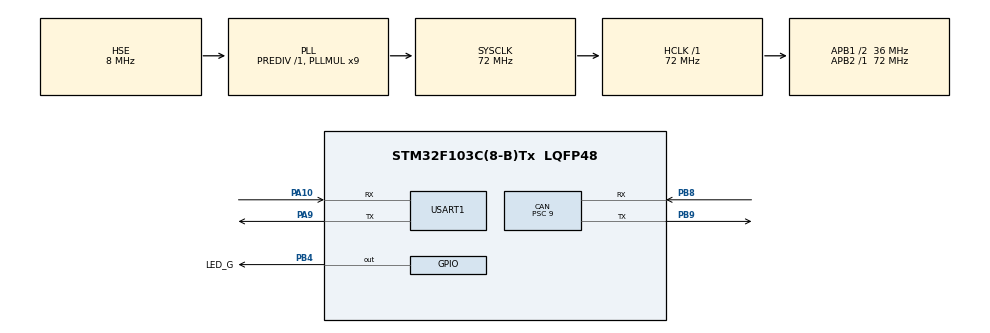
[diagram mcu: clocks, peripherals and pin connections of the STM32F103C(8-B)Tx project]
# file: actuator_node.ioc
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CAN.BS2=CAN_BS2_6TQ
CAN.CalculateBaudRate=500000
CAN.CalculateTimeBit=2000
CAN.CalculateTimeQuantum=250.0
CAN.Prescaler=9
Mcu.Family=STM32F1
Mcu.Name=STM32F103C(8-B)Tx
Mcu.Package=LQFP48
NVIC.CAN1_RX1_IRQn=true\:0\:0\:false\:false\:true\:true\:true\:true
NVIC.PriorityGroup=NVIC_PRIORITYGROUP_4
NVIC.TIM2_IRQn=true\:0\:0\:false\:false\:true\:true\:true\:true
PA10.Mode=Asynchronous
PA10.Signal=USART1_RX
PA9.Mode=Asynchronous
PA9.Signal=USART1_TX
PB4.GPIO_Label=LED_G
PB4.Signal=GPIO_Output
PB8.Mode=CAN_Activate
PB8.Signal=CAN_RX
PB9.Mode=CAN_Activate
PB9.Signal=CAN_TX
PD0-OSC_IN.Mode=HSE-External-Oscillator
PD0-OSC_IN.Signal=RCC_OSC_IN
PD1-OSC_OUT.Mode=HSE-External-Oscillator
PD1-OSC_OUT.Signal=RCC_OSC_OUT
ProjectManager.HeapSize=0x200
ProjectManager.StackSize=0x400
ProjectManager.TargetToolchain=STM32CubeIDE
RCC.AHBFreq_Value=72000000
RCC.APB1CLKDivider=RCC_HCLK_DIV2
RCC.APB1Freq_Value=36000000
RCC.APB1TimFreq_Value=72000000
RCC.APB2Freq_Value=72000000
RCC.APB2TimFreq_Value=72000000
RCC.HCLKFreq_Value=72000000
RCC.PLLMUL=RCC_PLL_MUL9
RCC.PLLSourceVirtual=RCC_PLLSOURCE_HSE
RCC.SYSCLKFreq_VALUE=72000000
RCC.SYSCLKSource=RCC_SYSCLKSOURCE_PLLCLK
RCC.USBFreq_Value=72000000
TIM2.Period=49999
TIM2.Prescaler=7199
USART1.VirtualMode=VM_ASYNC
VP_SYS_VS_ND.Mode=No_Debug
VP_TIM2_VS_ClockSourceINT.Mode=Internal
board=custom

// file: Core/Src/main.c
/* USER CODE BEGIN Header */
/**
  ******************************************************************************
  * @file           : main.c
  * @brief          : Main program body
  ******************************************************************************
  * @attention
  *
  * Copyright (c) 2024 STMicroelectronics.
  * All rights reserved.
  *
  * This software is licensed under terms that can be found in the LICENSE file
  * in the root directory of this software component.
  * If no LICENSE file comes with this software, it is provided AS-IS.
  *
  ******************************************************************************
  */
/* USER CODE END Header */
#include "main.h"

/* USER CODE BEGIN Includes */
#include <stdio.h>
#include <stdlib.h>
#include <time.h>
/* USER CODE END Includes */

/* USER CODE BEGIN PD */
#define CAN_Request_ID 0x712
#define CAN_Response_ID 0x7A2

#define ReadDataByLocalIdentifier_Request_SID 0x22
#define ReadDataByLocalIdentifier_Response_SID 0x62

#define WriteDataByLocalIdentifier_Request_SID 0x2E
#define WriteDataByLocalIdentifier_Response_SID 0x6E

#define SecurityAccess_Request_SID 0x27
#define SecurityAccess_Response_SID 0x67
#define Security_SEED_level 0x01
#define Security_KEY_level 0x02

#define RecordDataIdentifier_High_Byte 0x01
#define RecordDataIdentifier_Low_Byte 0x23

#define Identifier_Negative_Response 0x7F
#define Invalid_length_or_response_format 0x13
#define Invalid_minimum_request_length 0x13
#define DID_not_support 0x31
#define Invalid_Keys 0x35

#define Countinue_State 0x00
#define Wait_State 0x01

#define Block_Size 8
#define Separation_time 250

#define SF 0b0000
#define FF 0b0001
#define CF 0b0010
#define FC 0b0011
/* USER CODE END PD */

CAN_HandleTypeDef hcan;

TIM_HandleTypeDef htim2;

UART_HandleTypeDef huart1;

/* USER CODE BEGIN PV */
CAN_RxHeaderTypeDef RxHeader;
uint8_t RxData[8];
CAN_TxHeaderTypeDef TxHeader = {
		  .StdId = CAN_Response_ID,
		  .IDE = CAN_ID_STD,
		  .RTR = CAN_RTR_DATA,
		  .DLC = 8
  };
uint8_t TxData[8];
uint32_t TxMailbox;
CAN_FilterTypeDef Filter = {
		.FilterIdHigh = 0x0000,
		.FilterIdLow = 0x0000,
		.FilterMaskIdHigh = 0x0000,
		.FilterMaskIdLow = 0x0000,
		.FilterBank = 0,
		.FilterMode = CAN_FILTERMODE_IDMASK,
		.FilterScale = CAN_FILTERSCALE_32BIT,
		.FilterFIFOAssignment = CAN_FILTER_FIFO1,
		.FilterActivation = CAN_FILTER_ENABLE
};
uint8_t SEED[4];
uint8_t KEY[16];
uint8_t KEY_RECV[16];
uint8_t SN = 0x0;
uint8_t CANID = 0x0;
int MAX_KEY = 16;
int NEXT_KEY = 0;
int KEY_REMAIN = 0;
int Access_flag = 1;
/* USER CODE END PV */

void SystemClock_Config(void);
static void MX_GPIO_Init(void);
static void MX_CAN_Init(void);
static void MX_USART1_UART_Init(void);
static void MX_TIM2_Init(void);
/* USER CODE BEGIN PFP */
void Send_SF_Error_Code(uint8_t SID, uint8_t error_code)
{
	TxData[0] = (SF << 4) | 0x2;
	TxData[1] = Identifier_Negative_Response;
	TxData[2] = SID;
	TxData[3] = error_code;
	HAL_CAN_AddTxMessage(&hcan, &TxHeader, TxData, &TxMailbox);
}

void Read_Service_Handler(void)
{
	if(RxData[2] == RecordDataIdentifier_High_Byte && RxData[3] == RecordDataIdentifier_Low_Byte)
	{
		TxData[0] = (SF << 4) | 0x4;
		TxData[1] = ReadDataByLocalIdentifier_Response_SID;
		TxData[2] = RxData[2];
		TxData[3] = RxData[3];
		TxData[4] = RxHeader.StdId;
		HAL_CAN_AddTxMessage(&hcan, &TxHeader, TxData, &TxMailbox);
	}
	else
	{
		Send_SF_Error_Code(ReadDataByLocalIdentifier_Request_SID, Invalid_length_or_response_format);
	}
}

void Send_SF_Write(void)
{
	TxData[0] = (SF << 4) | 0x1;
	TxData[1] = WriteDataByLocalIdentifier_Response_SID;
	HAL_CAN_AddTxMessage(&hcan, &TxHeader, TxData, &TxMailbox);
}

void Write_Service_Handler(void)
{
	if(Access_flag)
	{
		CANID = RxHeader.StdId;
		Send_SF_Write();
	}
}

void Send_SF_Security(void)
{
	TxData[0] = (SF << 4) | 0x6;
	TxData[1] = SecurityAccess_Response_SID;
	TxData[2] = Security_SEED_level;
	TxData[3] = SEED[0];
	TxData[4] = SEED[1];
	TxData[5] = SEED[2];
	TxData[6] = SEED[3];
	HAL_CAN_AddTxMessage(&hcan, &TxHeader, TxData, &TxMailbox);
}

void Send_FC_Security(void)
{
	TxData[0] = (FC << 4) | Countinue_State;
	TxData[1] = Block_Size;
	TxData[2] = Separation_time;
	HAL_CAN_AddTxMessage(&hcan, &TxHeader, TxData, &TxMailbox);
}

void Send_SF_Security_Accept(void)
{
	TxData[0] = (SF << 4) | 0x2;
	TxData[1] = SecurityAccess_Response_SID;
	TxData[2] = Security_KEY_level;
	HAL_CAN_AddTxMessage(&hcan, &TxHeader, TxData, &TxMailbox);
}

void Security_Accept(void)
{
	HAL_GPIO_WritePin(GPIOB, LED_G_Pin, 1);
	HAL_TIM_Base_Start_IT(&htim2);
	Send_SF_Security_Accept();
}

void Security_CF_Handler(void)
{
	for(int i = 1; i < KEY_REMAIN || i < 8; i++)
	{
		if(KEY[NEXT_KEY] != RxData[i]) Access_flag = 0;
		NEXT_KEY++;
	}
	KEY_REMAIN = MAX_KEY - NEXT_KEY;
	if(KEY_REMAIN == 0)
	{
		if(Access_flag)
		{
			Security_Accept();
		}
		else
		{
			Send_SF_Error_Code(SecurityAccess_Request_SID ,Invalid_Keys);
		}
	}
}

void Security_Handler(void)
{
	if(RxData[3] == Security_SEED_level)
	{
		srand(time(NULL));
		SEED[0] = (uint8_t)(rand() & 0xFF);
		SEED[1] = (uint8_t)(rand() & 0xFF);
		SEED[2] = (uint8_t)(rand() & 0xFF);
		SEED[3] = (uint8_t)(rand() & 0xFF);
		KEY[0] = SEED[0] ^ SEED[1];
		KEY[1] = SEED[1] + SEED[2];
		KEY[2] = SEED[2] ^ SEED[3];
		KEY[3] = SEED[3] + SEED[0];
		KEY[4] = SEED[0] | SEED[1];
		KEY[5] = SEED[1] + SEED[2];
		KEY[6] = SEED[2] | SEED[3];
		KEY[7] = SEED[3] + SEED[0];
		KEY[8] = SEED[0] & SEED[1];
		KEY[9] = SEED[1] + SEED[2];
		KEY[10] = SEED[2] & SEED[3];
		KEY[11] = SEED[3] + SEED[0];
		KEY[12] = SEED[0] - SEED[1];
		KEY[13] = SEED[1] + SEED[2];
		KEY[14] = SEED[2] - SEED[3];
		KEY[15] = SEED[3] + SEED[0];
		KEY_REMAIN = MAX_KEY;
		Send_SF_Security();
	}
	else if(RxData[3] == Security_KEY_level)
	{
		Access_flag = 1;
		if(KEY[0] != RxData[4]) Access_flag = 0;
		if(KEY[1] != RxData[5]) Access_flag = 0;
		if(KEY[2] != RxData[6]) Access_flag = 0;
		if(KEY[3] != RxData[7]) Access_flag = 0;
		NEXT_KEY = 4;
		KEY_REMAIN = MAX_KEY - NEXT_KEY;
		Send_FC_Security();
	}
}

void HAL_TIM_PeriodElapsedCallback(TIM_HandleTypeDef *htim)
{
	HAL_GPIO_WritePin(GPIOB, LED_G_Pin, 0);
	HAL_TIM_Base_Stop_IT(&htim2);
	Access_flag = 0;
}

void HAL_CAN_RxFifo1MsgPendingCallback(CAN_HandleTypeDef *hcan)
{
	if (HAL_CAN_GetRxMessage(hcan, CAN_RX_FIFO1, &RxHeader, RxData) == HAL_OK)
		  {
			  if ((RxHeader.StdId == CAN_Request_ID))
			   {
				  switch(RxData[0] >> 4)
				  {
				  case SF:
					  switch(RxData[1])
					  {
					  case ReadDataByLocalIdentifier_Request_SID:
						  Read_Service_Handler();
						  break;
					  case SecurityAccess_Request_SID:
						  Security_Handler();
						  break;
					  case WriteDataByLocalIdentifier_Request_SID:
						  Write_Service_Handler();
						  break;
					  }
					  break;
				  case FF:
					  switch(RxData[2])
					  {
					  case SecurityAccess_Request_SID:
						  Security_Handler();
						  break;
					  }
					  break;
				  case CF:
					  Security_CF_Handler();
					  break;
				  case FC:
					  break;
				  }
			   }
		  }
}
/* USER CODE END PFP */

int main(void)
{

  /* MCU Configuration--------------------------------------------------------*/

  /* Reset of all peripherals, Initializes the Flash interface and the Systick. */
  HAL_Init();

  /* Configure the system clock */
  SystemClock_Config();

  /* Initialize all configured peripherals */
  MX_GPIO_Init();
  MX_CAN_Init();
  MX_USART1_UART_Init();
  MX_TIM2_Init();
  /* USER CODE BEGIN 2 */
  HAL_CAN_Start(&hcan);
  HAL_CAN_ConfigFilter(&hcan, &Filter);
  HAL_CAN_ActivateNotification(&hcan, CAN_IT_RX_FIFO1_MSG_PENDING);
  /* USER CODE END 2 */

  /* Infinite loop */
  while (1)
  {

  }
}

void SystemClock_Config(void)
{
  RCC_OscInitTypeDef RCC_OscInitStruct = {0};
  RCC_ClkInitTypeDef RCC_ClkInitStruct = {0};

  /** Initializes the RCC Oscillators according to the specified parameters
  * in the RCC_OscInitTypeDef structure.
  */
  RCC_OscInitStruct.OscillatorType = RCC_OSCILLATORTYPE_HSE;
  RCC_OscInitStruct.HSEState = RCC_HSE_ON;
  RCC_OscInitStruct.HSEPredivValue = RCC_HSE_PREDIV_DIV1;
  RCC_OscInitStruct.HSIState = RCC_HSI_ON;
  RCC_OscInitStruct.PLL.PLLState = RCC_PLL_ON;
  RCC_OscInitStruct.PLL.PLLSource = RCC_PLLSOURCE_HSE;
  RCC_OscInitStruct.PLL.PLLMUL = RCC_PLL_MUL9;
  if (HAL_RCC_OscConfig(&RCC_OscInitStruct) != HAL_OK)
  {
    Error_Handler();
  }

  /** Initializes the CPU, AHB and APB buses clocks
  */
  RCC_ClkInitStruct.ClockType = RCC_CLOCKTYPE_HCLK|RCC_CLOCKTYPE_SYSCLK
                              |RCC_CLOCKTYPE_PCLK1|RCC_CLOCKTYPE_PCLK2;
  RCC_ClkInitStruct.SYSCLKSource = RCC_SYSCLKSOURCE_PLLCLK;
  RCC_ClkInitStruct.AHBCLKDivider = RCC_SYSCLK_DIV1;
  RCC_ClkInitStruct.APB1CLKDivider = RCC_HCLK_DIV2;
  RCC_ClkInitStruct.APB2CLKDivider = RCC_HCLK_DIV1;

  if (HAL_RCC_ClockConfig(&RCC_ClkInitStruct, FLASH_LATENCY_2) != HAL_OK)
  {
    Error_Handler();
  }
}

static void MX_CAN_Init(void)
{

  hcan.Instance = CAN1;
  hcan.Init.Prescaler = 9;
  hcan.Init.Mode = CAN_MODE_NORMAL;
  hcan.Init.SyncJumpWidth = CAN_SJW_1TQ;
  hcan.Init.TimeSeg1 = CAN_BS1_1TQ;
  hcan.Init.TimeSeg2 = CAN_BS2_6TQ;
  hcan.Init.TimeTriggeredMode = DISABLE;
  hcan.Init.AutoBusOff = DISABLE;
  hcan.Init.AutoWakeUp = DISABLE;
  hcan.Init.AutoRetransmission = DISABLE;
  hcan.Init.ReceiveFifoLocked = DISABLE;
  hcan.Init.TransmitFifoPriority = DISABLE;
  if (HAL_CAN_Init(&hcan) != HAL_OK)
  {
    Error_Handler();
  }

}

static void MX_TIM2_Init(void)
{

  TIM_ClockConfigTypeDef sClockSourceConfig = {0};
  TIM_MasterConfigTypeDef sMasterConfig = {0};

  htim2.Instance = TIM2;
  htim2.Init.Prescaler = 7199;
  htim2.Init.CounterMode = TIM_COUNTERMODE_UP;
  htim2.Init.Period = 49999;
  htim2.Init.ClockDivision = TIM_CLOCKDIVISION_DIV1;
  htim2.Init.AutoReloadPreload = TIM_AUTORELOAD_PRELOAD_DISABLE;
  if (HAL_TIM_Base_Init(&htim2) != HAL_OK)
  {
    Error_Handler();
  }
  sClockSourceConfig.ClockSource = TIM_CLOCKSOURCE_INTERNAL;
  if (HAL_TIM_ConfigClockSource(&htim2, &sClockSourceConfig) != HAL_OK)
  {
    Error_Handler();
  }
  sMasterConfig.MasterOutputTrigger = TIM_TRGO_RESET;
  sMasterConfig.MasterSlaveMode = TIM_MASTERSLAVEMODE_DISABLE;
  if (HAL_TIMEx_MasterConfigSynchronization(&htim2, &sMasterConfig) != HAL_OK)
  {
    Error_Handler();
  }

}

static void MX_USART1_UART_Init(void)
{

  huart1.Instance = USART1;
  huart1.Init.BaudRate = 115200;
  huart1.Init.WordLength = UART_WORDLENGTH_8B;
  huart1.Init.StopBits = UART_STOPBITS_1;
  huart1.Init.Parity = UART_PARITY_NONE;
  huart1.Init.Mode = UART_MODE_TX_RX;
  huart1.Init.HwFlowCtl = UART_HWCONTROL_NONE;
  huart1.Init.OverSampling = UART_OVERSAMPLING_16;
  if (HAL_UART_Init(&huart1) != HAL_OK)
  {
    Error_Handler();
  }

}

static void MX_GPIO_Init(void)
{
  GPIO_InitTypeDef GPIO_InitStruct = {0};

  /* GPIO Ports Clock Enable */
  __HAL_RCC_GPIOD_CLK_ENABLE();
  __HAL_RCC_GPIOA_CLK_ENABLE();
  __HAL_RCC_GPIOB_CLK_ENABLE();

  /*Configure GPIO pin Output Level */
  HAL_GPIO_WritePin(LED_G_GPIO_Port, LED_G_Pin, GPIO_PIN_RESET);

  /*Configure GPIO pin : LED_G_Pin */
  GPIO_InitStruct.Pin = LED_G_Pin;
  GPIO_InitStruct.Mode = GPIO_MODE_OUTPUT_PP;
  GPIO_InitStruct.Pull = GPIO_NOPULL;
  GPIO_InitStruct.Speed = GPIO_SPEED_FREQ_LOW;
  HAL_GPIO_Init(LED_G_GPIO_Port, &GPIO_InitStruct);

}

void Error_Handler(void)
{
  __disable_irq();
  while (1)
  {
  }
}
